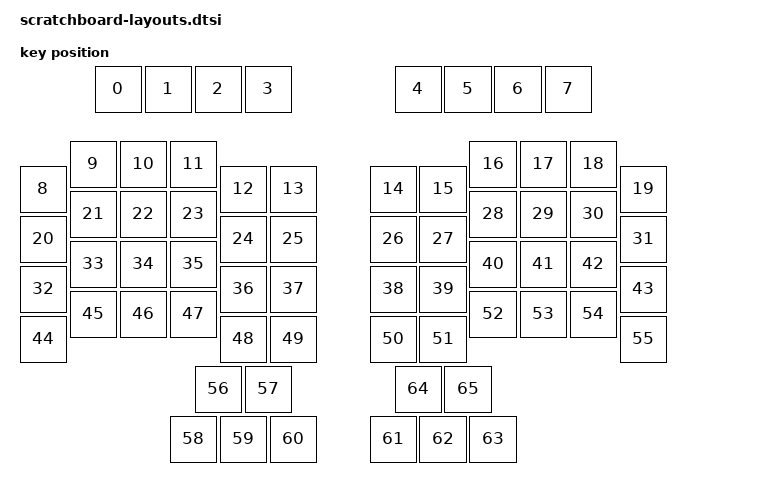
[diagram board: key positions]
// See https://zmk.dev/docs/development/hardware-integration/physical-layouts
// for how to configure this.

#include <physical_layouts.dtsi>

#include <physical_layouts.dtsi>

/ {
    physical_layout0: physical_layout_0 {
        compatible = "zmk,physical-layout";
        display-name = "default_transform";

        kscan = <&kscan0>;
        transform = <&matrix_transform0>;

        keys  //                     w   h    x    y     rot    rx    ry
            = <&key_physical_attrs 100 100  150    0       0     0     0>
            , <&key_physical_attrs 100 100  250    0       0     0     0>
            , <&key_physical_attrs 100 100  350    0       0     0     0>
            , <&key_physical_attrs 100 100  450    0       0     0     0>
            , <&key_physical_attrs 100 100  750    0       0     0     0>
            , <&key_physical_attrs 100 100  850    0       0     0     0>
            , <&key_physical_attrs 100 100  950    0       0     0     0>
            , <&key_physical_attrs 100 100 1050    0       0     0     0>
            , <&key_physical_attrs 100 100    0  200       0     0     0>
            , <&key_physical_attrs 100 100  100  150       0     0     0>
            , <&key_physical_attrs 100 100  200  150       0     0     0>
            , <&key_physical_attrs 100 100  300  150       0     0     0>
            , <&key_physical_attrs 100 100  400  200       0     0     0>
            , <&key_physical_attrs 100 100  500  200       0     0     0>
            , <&key_physical_attrs 100 100  700  200       0     0     0>
            , <&key_physical_attrs 100 100  800  200       0     0     0>
            , <&key_physical_attrs 100 100  900  150       0     0     0>
            , <&key_physical_attrs 100 100 1000  150       0     0     0>
            , <&key_physical_attrs 100 100 1100  150       0     0     0>
            , <&key_physical_attrs 100 100 1200  200       0     0     0>
            , <&key_physical_attrs 100 100    0  300       0     0     0>
            , <&key_physical_attrs 100 100  100  250       0     0     0>
            , <&key_physical_attrs 100 100  200  250       0     0     0>
            , <&key_physical_attrs 100 100  300  250       0     0     0>
            , <&key_physical_attrs 100 100  400  300       0     0     0>
            , <&key_physical_attrs 100 100  500  300       0     0     0>
            , <&key_physical_attrs 100 100  700  300       0     0     0>
            , <&key_physical_attrs 100 100  800  300       0     0     0>
            , <&key_physical_attrs 100 100  900  250       0     0     0>
            , <&key_physical_attrs 100 100 1000  250       0     0     0>
            , <&key_physical_attrs 100 100 1100  250       0     0     0>
            , <&key_physical_attrs 100 100 1200  300       0     0     0>
            , <&key_physical_attrs 100 100    0  400       0     0     0>
            , <&key_physical_attrs 100 100  100  350       0     0     0>
            , <&key_physical_attrs 100 100  200  350       0     0     0>
            , <&key_physical_attrs 100 100  300  350       0     0     0>
            , <&key_physical_attrs 100 100  400  400       0     0     0>
            , <&key_physical_attrs 100 100  500  400       0     0     0>
            , <&key_physical_attrs 100 100  700  400       0     0     0>
            , <&key_physical_attrs 100 100  800  400       0     0     0>
            , <&key_physical_attrs 100 100  900  350       0     0     0>
            , <&key_physical_attrs 100 100 1000  350       0     0     0>
            , <&key_physical_attrs 100 100 1100  350       0     0     0>
            , <&key_physical_attrs 100 100 1200  400       0     0     0>
            , <&key_physical_attrs 100 100    0  500       0     0     0>
            , <&key_physical_attrs 100 100  100  450       0     0     0>
            , <&key_physical_attrs 100 100  200  450       0     0     0>
            , <&key_physical_attrs 100 100  300  450       0     0     0>
            , <&key_physical_attrs 100 100  400  500       0     0     0>
            , <&key_physical_attrs 100 100  500  500       0     0     0>
            , <&key_physical_attrs 100 100  700  500       0     0     0>
            , <&key_physical_attrs 100 100  800  500       0     0     0>
            , <&key_physical_attrs 100 100  900  450       0     0     0>
            , <&key_physical_attrs 100 100 1000  450       0     0     0>
            , <&key_physical_attrs 100 100 1100  450       0     0     0>
            , <&key_physical_attrs 100 100 1200  500       0     0     0>
            , <&key_physical_attrs 100 100  350  600       0     0     0>
            , <&key_physical_attrs 100 100  450  600       0     0     0>
            , <&key_physical_attrs 100 100  300  700       0     0     0>
            , <&key_physical_attrs 100 100  400  700       0     0     0>
            , <&key_physical_attrs 100 100  500  700       0     0     0>
            , <&key_physical_attrs 100 100  700  700       0     0     0>
            , <&key_physical_attrs 100 100  800  700       0     0     0>
            , <&key_physical_attrs 100 100  900  700       0     0     0>
            , <&key_physical_attrs 100 100  750  600       0     0     0>
            , <&key_physical_attrs 100 100  850  600       0     0     0>
            ;
    };
};
